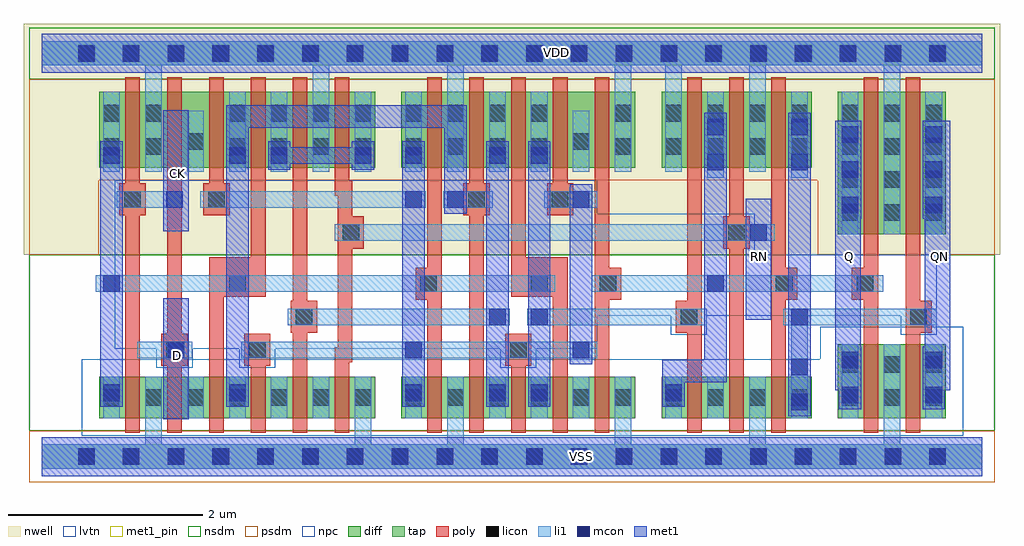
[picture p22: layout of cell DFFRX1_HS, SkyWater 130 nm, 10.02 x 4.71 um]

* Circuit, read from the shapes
.subckt DFFRX1_HS CK D Q QN RN VDD VSS
XM1 VSS CK n1 VSS sky130_fd_pr__nfet_01v8_lvt w=0.425 l=0.15
XM2 n2 D VSS VSS sky130_fd_pr__nfet_01v8_lvt w=0.425 l=0.15
XM3 n3 n1 n2 VSS sky130_fd_pr__nfet_01v8_lvt w=0.425 l=0.15
XM4 n4 n5 n3 VSS sky130_fd_pr__nfet_01v8_lvt w=0.425 l=0.15
XM5 n6 n7 n4 VSS sky130_fd_pr__nfet_01v8_lvt w=0.425 l=0.15
XM6 VSS RN n6 VSS sky130_fd_pr__nfet_01v8_lvt w=0.425 l=0.15
XM7 VSS n1 n5 VSS sky130_fd_pr__nfet_01v8_lvt w=0.425 l=0.15
XM8 n7 n3 VSS VSS sky130_fd_pr__nfet_01v8_lvt w=0.425 l=0.15
XM9 n8 n5 n7 VSS sky130_fd_pr__nfet_01v8_lvt w=0.425 l=0.15
XM10 n9 n1 n8 VSS sky130_fd_pr__nfet_01v8_lvt w=0.425 l=0.15
XM11 VSS n10 n9 VSS sky130_fd_pr__nfet_01v8_lvt w=0.425 l=0.15
XM12 n11 n8 n10 VSS sky130_fd_pr__nfet_01v8_lvt w=0.425 l=0.15
XM13 VSS RN n11 VSS sky130_fd_pr__nfet_01v8_lvt w=0.425 l=0.15
XM14 n12 n10 VSS VSS sky130_fd_pr__nfet_01v8_lvt w=0.425 l=0.15
XM15 VSS n10 Q VSS sky130_fd_pr__nfet_01v8_lvt w=0.76 l=0.15
XM16 QN n12 VSS VSS sky130_fd_pr__nfet_01v8_lvt w=0.76 l=0.15
XM17 VDD CK n1 VDD sky130_fd_pr__pfet_01v8 w=0.78 l=0.15
XM18 n13 D VDD VDD sky130_fd_pr__pfet_01v8 w=0.78 l=0.15
XM19 n3 n5 n13 VDD sky130_fd_pr__pfet_01v8 w=0.78 l=0.15
XM20 n14 n1 n3 VDD sky130_fd_pr__pfet_01v8 w=0.78 l=0.15
XM21 VDD n7 n14 VDD sky130_fd_pr__pfet_01v8 w=0.78 l=0.15
XM22 n14 RN VDD VDD sky130_fd_pr__pfet_01v8 w=0.78 l=0.15
XM23 VDD n1 n5 VDD sky130_fd_pr__pfet_01v8 w=0.78 l=0.15
XM24 n7 n3 VDD VDD sky130_fd_pr__pfet_01v8 w=0.78 l=0.15
XM25 n8 n1 n7 VDD sky130_fd_pr__pfet_01v8 w=0.78 l=0.15
XM26 n15 n5 n8 VDD sky130_fd_pr__pfet_01v8 w=0.78 l=0.15
XM27 VDD n10 n15 VDD sky130_fd_pr__pfet_01v8 w=0.78 l=0.15
XM28 n10 n8 VDD VDD sky130_fd_pr__pfet_01v8 w=0.78 l=0.15
XM29 VDD RN n10 VDD sky130_fd_pr__pfet_01v8 w=0.78 l=0.15
XM30 n12 n10 VDD VDD sky130_fd_pr__pfet_01v8 w=0.78 l=0.15
XM31 VDD n10 Q VDD sky130_fd_pr__pfet_01v8 w=1.46 l=0.15
XM32 QN n12 VDD VDD sky130_fd_pr__pfet_01v8 w=1.46 l=0.15
.ends

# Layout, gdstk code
from math import pi, radians
import gdstk
lib = gdstk.Library(unit=1e-6, precision=1e-09)
def R(c, l, rs):  # rectangles x0, y0, x1, y1
    for r in rs: c.add(gdstk.rectangle(r[:2], r[2:], *l))
def A(c, l, x, y, w, h, nx, ny, dx, dy):  # array of equal rectangles
    R(c, l, [(x+i*dx, y+j*dy, x+i*dx+w, y+j*dy+h) for i in range(nx) for j in range(ny)])
def P(c, l, *ps):  # polygons
    for p in ps: c.add(gdstk.Polygon(p, *l))
nwell = (64, 20)
diff = (65, 20)
tap = (65, 44)
poly = (66, 20)
licon = (66, 44)
li1 = (67, 20)
mcon = (67, 44)
met1_pin = (68, 16)
met1 = (68, 20)
nsdm = (93, 44)
psdm = (94, 20)
npc = (95, 20)
lvtn = (125, 44)

licondiff_c_cdns_7520165 = lib.new_cell('LICONDIFF_C_CDNS_752016586819')
R(licondiff_c_cdns_7520165, diff, [(-0.125,-0.145,0.125,0.145)])
R(licondiff_c_cdns_7520165, licon, [(-0.085,-0.085,0.085,0.085), (-0.085,-0.085,0.085,0.085)])

pyl1con_c_cdns_752016586 = lib.new_cell('PYL1CON_C_CDNS_752016586813')
R(pyl1con_c_cdns_752016586, poly, [(-0.135,-0.165,0.135,0.165)])
R(pyl1con_c_cdns_752016586, licon, [(-0.085,-0.085,0.085,0.085)])
R(pyl1con_c_cdns_752016586, npc, [(-0.185,-0.185,0.185,0.185)])

c_pyl1con_c_cdns_752016586 = lib.new_cell('PYL1CON_C_CDNS_7520165868113')
R(c_pyl1con_c_cdns_752016586, poly, [(-0.135,-0.29,0.135,0.29)])
R(c_pyl1con_c_cdns_752016586, licon, [(-0.085,-0.085,0.085,0.085)])
R(c_pyl1con_c_cdns_752016586, npc, [(-0.185,-0.185,0.185,0.185)])

l1m1_c_cdns_752016586811 = lib.new_cell('L1M1_C_CDNS_7520165868116')
R(l1m1_c_cdns_752016586811, li1, [(-0.165,-0.085,0.085,0.085)])
R(l1m1_c_cdns_752016586811, mcon, [(-0.085,-0.085,0.085,0.085)])
R(l1m1_c_cdns_752016586811, met1, [(-0.115,-0.145,0.115,0.145)])

c_l1m1_c_cdns_752016586811 = lib.new_cell('L1M1_C_CDNS_7520165868117')
R(c_l1m1_c_cdns_752016586811, li1, [(-0.125,-0.085,0.125,0.085)])
R(c_l1m1_c_cdns_752016586811, mcon, [(-0.085,-0.085,0.085,0.085)])
R(c_l1m1_c_cdns_752016586811, met1, [(-0.115,-0.145,0.115,0.145)])

l1m1_c_cdns_752016586812 = lib.new_cell('L1M1_C_CDNS_752016586812')
R(l1m1_c_cdns_752016586812, li1, [(-0.085,-0.165,0.085,0.165)])
R(l1m1_c_cdns_752016586812, mcon, [(-0.085,-0.085,0.085,0.085)])
R(l1m1_c_cdns_752016586812, met1, [(-0.115,-0.145,0.115,0.145)])

c_l1m1_c_cdns_752016586811_ = lib.new_cell('L1M1_C_CDNS_752016586811')
R(c_l1m1_c_cdns_752016586811_, li1, [(-0.165,-0.085,0.165,0.085)])
R(c_l1m1_c_cdns_752016586811_, mcon, [(-0.085,-0.085,0.085,0.085)])
R(c_l1m1_c_cdns_752016586811_, met1, [(-0.115,-0.145,0.115,0.145)])

l1m1_c_cdns_752016586817 = lib.new_cell('L1M1_C_CDNS_752016586817')
R(l1m1_c_cdns_752016586817, li1, [(-0.085,-0.525,0.085,0.525)])
A(l1m1_c_cdns_752016586817, mcon, -0.085, -0.445, 0.17, 0.17, 1, 3, 0, 0.36)
R(l1m1_c_cdns_752016586817, met1, [(-0.115,-0.505,0.115,0.505)])

l1m1_c_cdns_752016586816 = lib.new_cell('L1M1_C_CDNS_752016586816')
R(l1m1_c_cdns_752016586816, li1, [(-0.085,-0.345,0.085,0.345)])
R(l1m1_c_cdns_752016586816, mcon, [(-0.085,-0.265,0.085,-0.095), (-0.085,0.095,0.085,0.265)])
R(l1m1_c_cdns_752016586816, met1, [(-0.115,-0.325,0.115,0.325)])

dffrx1_hs = lib.new_cell('DFFRX1_HS')
R(dffrx1_hs, nwell, [(-0.18,2.07,9.84,4.445)])
R(dffrx1_hs, diff, [(0.595,0.395,3.425,0.82), (3.695,0.395,6.095,0.82), (6.365,0.395,7.905,0.82), (8.175,0.395,9.285,1.155), (8.175,2.285,9.285,3.745), (0.595,2.965,3.425,3.745), (3.695,2.965,6.095,3.745), (6.365,2.965,7.905,3.745)])
A(dffrx1_hs, poly, 6.63, 0.245, 0.15, 3.65, 3, 1, 0.43, 0)
R(dffrx1_hs, poly, [(0.86,0.245,1.01,3.895), (1.29,0.245,1.44,0.97), (2.15,0.245,2.3,0.97), (2.58,0.245,2.73,3.895), (3.96,0.245,4.11,3.895), (4.39,0.245,4.54,3.895), (4.82,0.245,4.97,0.97), (5.68,0.245,5.83,3.895), (8.44,0.245,8.59,3.895), (8.87,0.245,9.02,1.305), (1.29,1.11,1.44,3.895), (8.87,1.445,9.02,3.895), (1.72,2.805,1.87,3.895), (5.25,2.805,5.4,3.895)])
P(dffrx1_hs, poly, [(2.3,3.895),(2.15,3.895),(2.15,2.045),(1.72,2.045),(1.72,0.245),(1.87,0.245),(1.87,1.895),(2.3,1.895)],
  [(3.19,2.83),(3.16,2.83),(3.16,3.895),(3.01,3.895),(3.01,2.68),(3.04,2.68),(3.04,1.12),(3.01,1.12),(3.01,0.245),(3.16,0.245),(3.16,0.97),(3.19,0.97)],
  [(5.4,2.045),(4.97,2.045),(4.97,3.895),(4.82,3.895),(4.82,1.895),(5.25,1.895),(5.25,0.245),(5.4,0.245)])
A(dffrx1_hs, licon, 0.375, -0.085, 0.17, 0.17, 20, 2, 0.46, 4.14)
A(dffrx1_hs, licon, 3.735, 0.52, 0.17, 0.17, 4, 2, 0.43, 2.58)
A(dffrx1_hs, licon, 6.405, 0.52, 0.17, 0.17, 4, 2, 0.43, 2.58)
A(dffrx1_hs, licon, 8.215, 0.52, 0.17, 0.17, 3, 2, 0.43, 0.34)
A(dffrx1_hs, licon, 8.215, 2.42, 0.17, 0.17, 3, 4, 0.43, 0.34)
A(dffrx1_hs, licon, 1.925, 3.1, 0.17, 0.17, 4, 2, 0.43, 0.34)
A(dffrx1_hs, licon, 3.735, 3.44, 0.17, 0.17, 4, 1, 0.43, 0)
A(dffrx1_hs, licon, 6.405, 3.44, 0.17, 0.17, 4, 1, 0.43, 0)
R(dffrx1_hs, licon, [(0.635,0.52,0.805,0.69), (1.065,0.52,1.235,0.69), (1.925,0.52,2.095,0.69), (3.215,0.52,3.385,0.69), (5.885,0.52,6.055,0.69), (0.635,3.1,0.805,3.27), (1.065,3.1,1.235,3.27), (5.885,3.1,6.055,3.27), (0.635,3.44,0.805,3.61), (1.065,3.44,1.235,3.61), (5.885,3.44,6.055,3.61)])
R(dffrx1_hs, li1, [(0.635,0.395,0.805,0.82), (1.925,0.395,2.095,0.82), (3.735,0.395,3.905,0.82), (4.595,0.395,4.765,0.82), (5.025,0.395,5.195,0.82), (6.405,0.395,6.575,0.82), (6.835,0.395,7.005,0.82), (8.215,0.395,8.385,1.155), (9.075,0.395,9.245,1.155), (8.215,2.285,8.385,3.745), (9.075,2.285,9.245,3.745), (0.77,2.555,1.315,2.725), (0.635,2.965,0.805,3.745), (1.925,2.965,2.095,3.745), (2.355,2.965,2.525,3.745), (3.215,2.965,3.385,3.745), (3.735,2.965,3.905,3.745), (4.595,2.965,4.765,3.745), (5.025,2.965,5.195,3.745), (6.835,2.965,7.005,3.745), (7.695,2.965,7.865,3.745)])
P(dffrx1_hs, li1, [(9.19,1.52),(7.615,1.52),(7.615,1.35),(7.695,1.35),(7.695,0.395),(7.865,0.395),(7.865,1.35),(9.19,1.35)],
  [(9.66,4.265),(0,4.265),(0,4.015),(1.065,4.015),(1.065,2.925),(1.235,2.925),(1.235,4.015),(2.785,4.015),(2.785,2.925),(2.955,2.925),(2.955,4.015),(4.165,4.015),(4.165,2.925),(4.335,2.925),(4.335,4.015),(5.885,4.015),(5.885,2.925),(6.055,2.925),(6.055,4.015),(6.405,4.015),(6.405,2.925),(6.575,2.925),(6.575,4.015),(7.265,4.015),(7.265,2.925),(7.435,2.925),(7.435,4.015),(8.645,4.015),(8.645,2.285),(8.815,2.285),(8.815,4.015),(9.66,4.015)],
  [(9.66,0.125),(8.815,0.125),(8.815,1.155),(8.645,1.155),(8.645,0.125),(7.435,0.125),(7.435,0.82),(7.265,0.82),(7.265,0.125),(6.055,0.125),(6.055,0.82),(5.885,0.82),(5.885,0.125),(4.335,0.125),(4.335,0.82),(4.165,0.82),(4.165,0.125),(3.385,0.125),(3.385,0.82),(3.215,0.82),(3.215,0.125),(1.235,0.125),(1.235,0.82),(1.065,0.82),(1.065,0.125),(0,0.125),(0,-0.125),(9.66,-0.125)])
A(dffrx1_hs, mcon, 0.375, -0.085, 0.17, 0.17, 20, 2, 0.46, 4.14)
R(dffrx1_hs, met1_pin, [(1.25,0.385,1.51,1.625), (8.15,0.68,8.41,3.45), (9.07,0.68,9.33,3.45), (7.23,1.405,7.49,2.645), (1.25,2.315,1.51,3.555)])
R(dffrx1_hs, nsdm, [(-0.125,0.265,9.785,2.07), (-0.125,3.875,9.785,4.405)])
R(dffrx1_hs, psdm, [(-0.125,-0.265,9.785,0.265)])
P(dffrx1_hs, psdm, [(9.785,3.875),(-0.125,3.875),(-0.125,2.07),(0.585,2.07),(0.585,2.835),(7.97,2.835),(7.97,2.07),(9.785,2.07)])
P(dffrx1_hs, npc, [(9.19,2.07),(7.32,2.07),(7.32,2.495),(5.705,2.495),(5.705,2.835),(0.75,2.835),(0.75,1.105),(5.705,1.105),(5.705,1.445),(9.19,1.445)])
P(dffrx1_hs, lvtn, [(9.465,1.335),(7.995,1.335),(7.995,1),(0.415,1),(0.415,0.215),(9.465,0.215)])
dffrx1_hs.add(gdstk.FlexPath([(1.63,2.64),(3.945,2.64)], 0.17, ends="flush", simple_path=True, layer=67, datatype=20))  # li1
dffrx1_hs.add(gdstk.FlexPath([(5.16,2.64),(5.705,2.64)], 0.17, ends="flush", simple_path=True, layer=67, datatype=20))  # li1
dffrx1_hs.add(gdstk.FlexPath([(2.53,1.435),(4.805,1.435)], 0.17, ends="flush", simple_path=True, layer=67, datatype=20))  # li1
dffrx1_hs.add(gdstk.FlexPath([(4.985,1.435),(6.83,1.435)], 0.17, ends="flush", simple_path=True, layer=67, datatype=20))  # li1
dffrx1_hs.add(gdstk.FlexPath([(2.87,0.395),(2.87,0.82)], 0.17, ends="flush", simple_path=True, layer=67, datatype=20))  # li1
dffrx1_hs.add(gdstk.FlexPath([(1.58,0.395),(1.58,0.82)], 0.17, ends="flush", simple_path=True, layer=67, datatype=20))  # li1
dffrx1_hs.add(gdstk.FlexPath([(1.58,2.925),(1.58,3.55)], 0.17, ends="flush", simple_path=True, layer=67, datatype=20))  # li1
dffrx1_hs.add(gdstk.FlexPath([(4.125,2.64),(4.63,2.64)], 0.17, ends="flush", simple_path=True, layer=67, datatype=20))  # li1
dffrx1_hs.add(gdstk.FlexPath([(2.05,1.095),(5.705,1.095)], 0.17, ends="flush", simple_path=True, layer=67, datatype=20))  # li1
dffrx1_hs.add(gdstk.FlexPath([(0.555,1.775),(5.275,1.775)], 0.17, ends="flush", simple_path=True, layer=67, datatype=20))  # li1
dffrx1_hs.add(gdstk.FlexPath([(7.515,2.3),(3.01,2.3)], 0.17, ends="flush", simple_path=True, layer=67, datatype=20))  # li1
dffrx1_hs.add(gdstk.FlexPath([(2.44,0.395),(2.44,0.82)], 0.17, ends="flush", simple_path=True, layer=67, datatype=20))  # li1
dffrx1_hs.add(gdstk.FlexPath([(5.54,0.395),(5.54,0.82)], 0.17, ends="flush", simple_path=True, layer=67, datatype=20))  # li1
dffrx1_hs.add(gdstk.FlexPath([(5.54,2.925),(5.54,3.55)], 0.17, ends="flush", simple_path=True, layer=67, datatype=20))  # li1
dffrx1_hs.add(gdstk.FlexPath([(0.985,1.095),(1.53,1.095)], 0.17, ends="flush", simple_path=True, layer=67, datatype=20))  # li1
dffrx1_hs.add(gdstk.FlexPath([(5.65,1.775),(8.64,1.775)], 0.17, ends="flush", simple_path=True, layer=67, datatype=20))  # li1
dffrx1_hs.add(gdstk.FlexPath([(0,4.14),(9.66,4.14)], 0.25, ends="flush", simple_path=True, layer=65, datatype=44))  # tap
dffrx1_hs.add(gdstk.FlexPath([(0,0),(9.66,0)], 0.25, ends="flush", simple_path=True, layer=65, datatype=44))  # tap
dffrx1_hs.add(gdstk.FlexPath([(0,4.14),(9.66,4.14)], 0.4, ends="flush", simple_path=True, layer=68, datatype=20))  # met1
dffrx1_hs.add(gdstk.FlexPath([(0,0),(9.66,0)], 0.4, ends="flush", simple_path=True, layer=68, datatype=20))  # met1
dffrx1_hs.add(gdstk.FlexPath([(6.375,0.88),(6.92,0.88),(6.92,3.53)], 0.23, ends="flush", simple_path=True, layer=68, datatype=20))  # met1
dffrx1_hs.add(gdstk.FlexPath([(5.54,1.145),(5.54,2.795)], 0.23, ends="flush", simple_path=True, layer=68, datatype=20))  # met1
dffrx1_hs.add(gdstk.FlexPath([(5.11,0.705),(5.11,3.235)], 0.23, ends="flush", simple_path=True, layer=68, datatype=20))  # met1
dffrx1_hs.add(gdstk.FlexPath([(4.25,2.505),(4.25,3.49),(2.01,3.49),(2.01,0.705)], 0.23, ends="flush", simple_path=True, layer=68, datatype=20))  # met1
dffrx1_hs.add(gdstk.FlexPath([(3.82,0.705),(3.82,3.235)], 0.23, ends="flush", simple_path=True, layer=68, datatype=20))  # met1
dffrx1_hs.add(gdstk.FlexPath([(1.38,1.625),(1.38,0.385)], 0.26, ends="flush", simple_path=True, layer=68, datatype=20))  # met1
dffrx1_hs.add(gdstk.FlexPath([(8.28,3.45),(8.28,0.68)], 0.26, ends="flush", simple_path=True, layer=68, datatype=20))  # met1
dffrx1_hs.add(gdstk.FlexPath([(9.2,3.45),(9.2,0.68)], 0.26, ends="flush", simple_path=True, layer=68, datatype=20))  # met1
dffrx1_hs.add(gdstk.FlexPath([(1.38,2.315),(1.38,3.555)], 0.26, ends="flush", simple_path=True, layer=68, datatype=20))  # met1
dffrx1_hs.add(gdstk.FlexPath([(7.78,0.61),(7.78,3.53)], 0.23, ends="flush", simple_path=True, layer=68, datatype=20))  # met1
dffrx1_hs.add(gdstk.FlexPath([(2.325,3.09),(3.415,3.09)], 0.17, ends="flush", simple_path=True, layer=68, datatype=20))  # met1
dffrx1_hs.add(gdstk.FlexPath([(7.36,2.645),(7.36,1.405)], 0.26, ends="flush", simple_path=True, layer=68, datatype=20))  # met1
dffrx1_hs.add(gdstk.FlexPath([(0.72,0.705),(0.72,3.235)], 0.23, ends="flush", simple_path=True, layer=68, datatype=20))  # met1
dffrx1_hs.add(gdstk.FlexPath([(4.68,0.705),(4.68,3.235)], 0.23, ends="flush", simple_path=True, layer=68, datatype=20))  # met1
dffrx1_hs.add(gdstk.FlexPath([(0,0),(9.66,0)], 0.4, ends="flush", simple_path=True, layer=68, datatype=16))  # met1_pin
dffrx1_hs.add(gdstk.FlexPath([(0,4.14),(9.66,4.14)], 0.4, ends="flush", simple_path=True, layer=68, datatype=16))  # met1_pin
dffrx1_hs.add(gdstk.Reference(licondiff_c_cdns_7520165, (2.87,0.605)))
dffrx1_hs.add(gdstk.Reference(licondiff_c_cdns_7520165, (2.44,0.605)))
dffrx1_hs.add(gdstk.Reference(licondiff_c_cdns_7520165, (1.58,0.605)))
dffrx1_hs.add(gdstk.Reference(licondiff_c_cdns_7520165, (1.58,3.235)))
dffrx1_hs.add(gdstk.Reference(licondiff_c_cdns_7520165, (5.54,3.235)))
dffrx1_hs.add(gdstk.Reference(licondiff_c_cdns_7520165, (5.54,0.605)))
dffrx1_hs.add(gdstk.Reference(pyl1con_c_cdns_752016586, (4.465,2.64), rotation=pi))
dffrx1_hs.add(gdstk.Reference(pyl1con_c_cdns_752016586, (6.645,1.435)))
dffrx1_hs.add(gdstk.Reference(pyl1con_c_cdns_752016586, (7.135,2.3)))
dffrx1_hs.add(gdstk.Reference(pyl1con_c_cdns_752016586, (5.325,2.64), rotation=pi))
dffrx1_hs.add(gdstk.Reference(pyl1con_c_cdns_752016586, (1.795,2.64), rotation=pi))
dffrx1_hs.add(gdstk.Reference(pyl1con_c_cdns_752016586, (2.215,1.095), x_reflection=True))
dffrx1_hs.add(gdstk.Reference(pyl1con_c_cdns_752016586, (4.895,1.095), x_reflection=True))
dffrx1_hs.add(gdstk.Reference(pyl1con_c_cdns_752016586, (5.815,1.775), rotation=pi, x_reflection=True))
dffrx1_hs.add(gdstk.Reference(pyl1con_c_cdns_752016586, (3.975,1.775), rotation=pi, x_reflection=True))
dffrx1_hs.add(gdstk.Reference(pyl1con_c_cdns_752016586, (1.365,1.095), x_reflection=True))
dffrx1_hs.add(gdstk.Reference(pyl1con_c_cdns_752016586, (0.935,2.64), rotation=pi))
dffrx1_hs.add(gdstk.Reference(pyl1con_c_cdns_752016586, (3.175,2.3), x_reflection=True))
dffrx1_hs.add(gdstk.Reference(pyl1con_c_cdns_752016586, (2.695,1.435), rotation=pi))
dffrx1_hs.add(gdstk.Reference(pyl1con_c_cdns_752016586, (8.455,1.775), rotation=pi, x_reflection=True))
dffrx1_hs.add(gdstk.Reference(pyl1con_c_cdns_752016586, (7.625,1.775), rotation=pi, x_reflection=True))
dffrx1_hs.add(gdstk.Reference(pyl1con_c_cdns_752016586, (9.005,1.435), rotation=pi, x_reflection=True))
dffrx1_hs.add(gdstk.Reference(c_pyl1con_c_cdns_752016586, (5.11,1.775), rotation=pi/2))
dffrx1_hs.add(gdstk.Reference(c_pyl1con_c_cdns_752016586, (2.01,1.775), rotation=pi/2, x_reflection=True))
dffrx1_hs.add(gdstk.Reference(l1m1_c_cdns_752016586811, (1.365,2.64), x_reflection=True))
dffrx1_hs.add(gdstk.Reference(c_l1m1_c_cdns_752016586811, (4.25,2.64), rotation=pi, x_reflection=True))
dffrx1_hs.add(gdstk.Reference(c_l1m1_c_cdns_752016586811, (5.11,1.435), x_reflection=True))
dffrx1_hs.add(gdstk.Reference(c_l1m1_c_cdns_752016586811, (3.82,2.64), rotation=pi, x_reflection=True))
dffrx1_hs.add(gdstk.Reference(c_l1m1_c_cdns_752016586811, (4.68,1.435)))
dffrx1_hs.add(gdstk.Reference(l1m1_c_cdns_752016586812, (2.01,0.655), rotation=pi, x_reflection=True))
dffrx1_hs.add(gdstk.Reference(l1m1_c_cdns_752016586812, (2.01,3.09), rotation=pi, x_reflection=True))
dffrx1_hs.add(gdstk.Reference(l1m1_c_cdns_752016586812, (5.11,3.09), rotation=pi, x_reflection=True))
dffrx1_hs.add(gdstk.Reference(l1m1_c_cdns_752016586812, (5.11,0.655), rotation=pi, x_reflection=True))
dffrx1_hs.add(gdstk.Reference(l1m1_c_cdns_752016586812, (4.68,3.09), rotation=pi, x_reflection=True))
dffrx1_hs.add(gdstk.Reference(l1m1_c_cdns_752016586812, (4.68,0.655), rotation=pi, x_reflection=True))
dffrx1_hs.add(gdstk.Reference(l1m1_c_cdns_752016586812, (3.82,3.09), rotation=pi, x_reflection=True))
dffrx1_hs.add(gdstk.Reference(l1m1_c_cdns_752016586812, (3.82,0.655), rotation=pi, x_reflection=True))
dffrx1_hs.add(gdstk.Reference(l1m1_c_cdns_752016586812, (3.3,3.09), rotation=pi, x_reflection=True))
dffrx1_hs.add(gdstk.Reference(l1m1_c_cdns_752016586812, (0.72,0.655), rotation=pi, x_reflection=True))
dffrx1_hs.add(gdstk.Reference(l1m1_c_cdns_752016586812, (0.72,3.09), rotation=pi, x_reflection=True))
dffrx1_hs.add(gdstk.Reference(l1m1_c_cdns_752016586812, (6.49,0.655)))
dffrx1_hs.add(gdstk.Reference(l1m1_c_cdns_752016586812, (2.44,3.09), rotation=pi, x_reflection=True))
dffrx1_hs.add(gdstk.Reference(c_l1m1_c_cdns_752016586811_, (5.54,2.64)))
dffrx1_hs.add(gdstk.Reference(c_l1m1_c_cdns_752016586811_, (5.54,1.095)))
dffrx1_hs.add(gdstk.Reference(c_l1m1_c_cdns_752016586811_, (3.82,1.095)))
dffrx1_hs.add(gdstk.Reference(c_l1m1_c_cdns_752016586811_, (6.92,1.775)))
dffrx1_hs.add(gdstk.Reference(c_l1m1_c_cdns_752016586811_, (7.36,2.3)))
dffrx1_hs.add(gdstk.Reference(c_l1m1_c_cdns_752016586811_, (1.38,1.095)))
dffrx1_hs.add(gdstk.Reference(c_l1m1_c_cdns_752016586811_, (0.72,1.775), rotation=pi, x_reflection=True))
dffrx1_hs.add(gdstk.Reference(c_l1m1_c_cdns_752016586811_, (7.78,1.435), x_reflection=True))
dffrx1_hs.add(gdstk.Reference(l1m1_c_cdns_752016586817, (8.3,2.945)))
dffrx1_hs.add(gdstk.Reference(l1m1_c_cdns_752016586817, (9.16,2.945)))
dffrx1_hs.add(gdstk.Reference(l1m1_c_cdns_752016586816, (6.92,3.205), rotation=pi, x_reflection=True))
dffrx1_hs.add(gdstk.Reference(l1m1_c_cdns_752016586816, (7.78,0.74)))
dffrx1_hs.add(gdstk.Reference(l1m1_c_cdns_752016586816, (7.78,3.205), rotation=pi, x_reflection=True))
dffrx1_hs.add(gdstk.Reference(l1m1_c_cdns_752016586816, (8.3,0.81)))
dffrx1_hs.add(gdstk.Reference(l1m1_c_cdns_752016586816, (9.16,0.81)))
dffrx1_hs.add(gdstk.Label('RN', (7.375,2.055), layer=68, texttype=5))
dffrx1_hs.add(gdstk.Label('D', (1.395,1.035), layer=68, texttype=5))
dffrx1_hs.add(gdstk.Label('Q', (8.295,2.055), layer=68, texttype=5))
dffrx1_hs.add(gdstk.Label('QN', (9.215,2.055), layer=68, texttype=5))
dffrx1_hs.add(gdstk.Label('VSS', (5.545,0.005), layer=68, texttype=5))
dffrx1_hs.add(gdstk.Label('CK', (1.395,2.91), layer=68, texttype=5))
dffrx1_hs.add(gdstk.Label('VDD', (5.285,4.145), layer=68, texttype=5))

lib.write_gds('DFFRX1_HS.gds')
